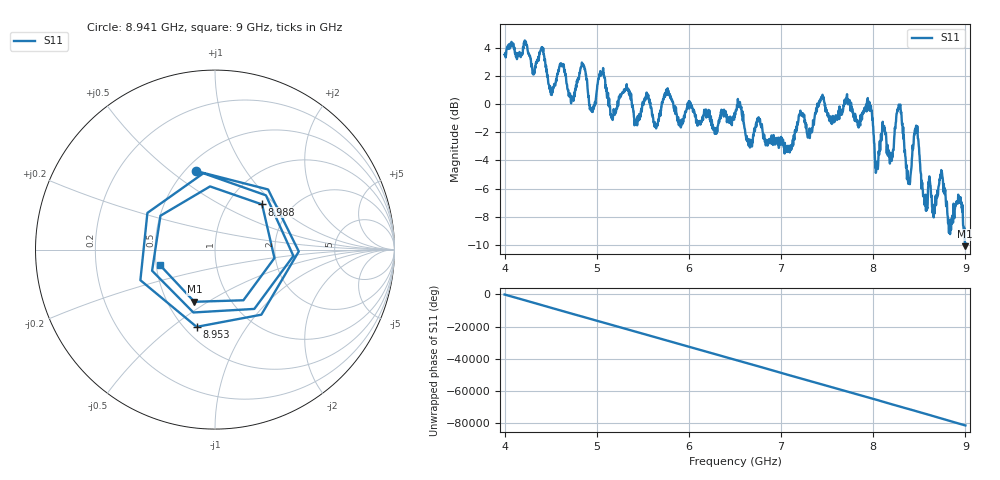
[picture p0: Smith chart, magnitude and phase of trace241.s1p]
! Created with skrf 1.8.0 (http://scikit-rf.org).
# Hz S RI R 50.0
!freq ReS11 ImS11
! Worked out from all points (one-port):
!   1601 points, 4 GHz to 9 GHz, reference 50 ohm
!   lowest |S11| = -10.1 dB at 8.997 GHz (marker M1), VSWR 1.91, Z = 34 - j21.9 ohm
!   |S11| at or under -10 dB: 8.996036 GHz to 8.998481 GHz (2.445 MHz wide, 0.0272 % of centre)
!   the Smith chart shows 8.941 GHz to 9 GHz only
!   S11 on the Smith chart (normalised r, x): 8.941 GHz: 0.56, +0.62; 8.953 GHz: 0.57, -0.61; 8.988 GHz: 1.43, +0.83; 9 GHz: 0.52, -0.10
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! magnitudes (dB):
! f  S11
! 4 GHz  3.5
! 4.403 GHz  4.1
! 4.509 GHz  0.8
! 4.625 GHz  2.8
! 4.722 GHz  0.1
! 4.847 GHz  2.8
! 4.944 GHz  -0.4
! 5.05 GHz  2.2
! 5.172 GHz  -1.1
! 5.25 GHz  0.5
! 5.875 GHz  -1.0
! 6.5 GHz  -0.7
! 7.125 GHz  -2.7
! 7.438 GHz  0.5
! 7.75 GHz  0.1
! 7.959 GHz  -0.5
! 8.041 GHz  -4.1
! 8.109 GHz  -1.6
! 8.197 GHz  -4.0
! 8.281 GHz  -0.2
! 8.375 GHz  -5.3
! 8.466 GHz  -1.5
! 8.566 GHz  -7.2
! 8.941 GHz  -6.9
! 8.953 GHz  -7.1
! 8.988 GHz  -8.8
! 8.997 GHz  -10.1
! 9 GHz  -9.9
